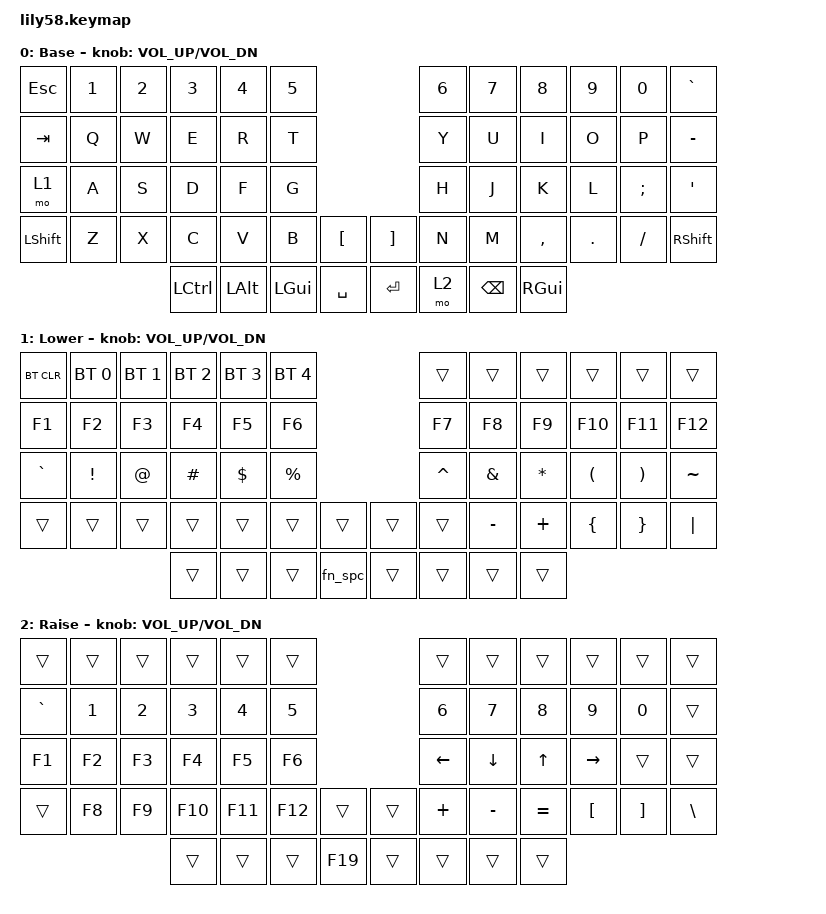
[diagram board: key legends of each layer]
/*
 * Copyright (c) 2020 The ZMK Contributors
 *
 * SPDX-License-Identifier: MIT
 */

#include <behaviors.dtsi>
#include <dt-bindings/zmk/keys.h>
#include <dt-bindings/zmk/bt.h>
#include <dt-bindings/zmk/ext_power.h>

/ {
    macros {
        // globe(fn)+space for whisper_stt's "<fn>+<space>" hotkey. GLOBE is a consumer key, not a
        // modifier, so LG()-style wrapping can't work. held until release, so stt's hold mode works too.
        // verified 2026-11-13 on macOS 26.6: ZMK GLOBE does set kCGEventFlagMaskSecondaryFn, so stt sees fn+space.
        fn_spc: fn_spc {
            compatible = "zmk,behavior-macro";
            #binding-cells = <0>;
            wait-ms = <30>;
            bindings
                = <&macro_press &kp GLOBE>
                , <&macro_press &kp SPACE>
                , <&macro_pause_for_release>
                , <&macro_release &kp SPACE>
                , <&macro_release &kp GLOBE>
                ;
        };
    };

    keymap {
        compatible = "zmk,keymap";

        default_layer {
// ------------------------------------------------------------------------------------------------------------
// |  ESC  |  1  |  2  |  3   |  4   |  5   |                   |  6   |  7    |  8    |  9   |   0   |   `   |
// |  TAB  |  Q  |  W  |  E   |  R   |  T   |                   |  Y   |  U    |  I    |  O   |   P   |   -   |
// |  CTRL |  A  |  S  |  D   |  F   |  G   |                   |  H   |  J    |  K    |  L   |   ;   |   '   |
// | SHIFT |  Z  |  X  |  C   |  V   |  B   |   "["  |  |  "]"  |  N   |  M    |  ,    |  .   |   /   | SHIFT |
//                     | ALT  | GUI  | LOWER|  SPACE |  | ENTER | RAISE| BSPC  | GUI   |
            display-name = "Base";
            bindings = <
&kp ESC   &kp N1 &kp N2 &kp N3   &kp N4   &kp N5                     &kp N6 &kp N7   &kp N8    &kp N9  &kp N0   &kp GRAVE
&kp TAB   &kp Q  &kp W  &kp E    &kp R    &kp T                      &kp Y  &kp U    &kp I     &kp O   &kp P    &kp MINUS
&mo 1 &kp A  &kp S  &kp D    &kp F    &kp G                      &kp H  &kp J    &kp K     &kp L   &kp SEMI &kp SQT
&kp LSHFT &kp Z  &kp X  &kp C    &kp V    &kp B  &kp LBKT   &kp RBKT &kp N  &kp M    &kp COMMA &kp DOT &kp FSLH &kp RSHFT
                        &kp LCTRL &kp LALT &kp LGUI &kp SPACE  &kp RET  &mo 2  &kp BSPC &kp RGUI
            >;

            sensor-bindings = <&inc_dec_kp C_VOL_UP C_VOL_DN>;
        };

        lower_layer {
// ------------------------------------------------------------------------------------------------------------
// | BTCLR | BT1 | BT2 |  BT3 |  BT4 |  BT5 |                   |      |       |       |      |       |       |
// |  F1   |  F2 |  F3 |  F4  |  F5  |  F6  |                   |  F7  |  F8   |  F9   |  F10 |  F11  |  F12  |
// |   `   |  !  |  @  |  #   |  $   |  %   |                   |  ^   |  &    |  *    |  (   |   )   |   ~   |
// |       |     |     |      |      |      |        |  |       |      |  _    |  +    |  {   |   }   |  "|"  |
//                     |      |      |      |        |  |       |      |       |       |
            display-name = "Lower";
            bindings = <
&bt BT_CLR &bt BT_SEL 0     &bt BT_SEL 1      &bt BT_SEL 2      &bt BT_SEL 3 &bt BT_SEL 4                 &trans    &trans    &trans          &trans    &trans    &trans
&kp F1     &kp F2           &kp F3            &kp F4            &kp F5       &kp F6                       &kp F7    &kp F8    &kp F9          &kp F10   &kp F11   &kp F12
&kp GRAVE  &kp EXCL         &kp AT            &kp HASH          &kp DOLLAR   &kp PRCNT                    &kp CARET &kp AMPS  &kp ASTERISK    &kp LPAR  &kp RPAR  &kp TILDE
&trans     &trans           &trans            &trans            &trans       &trans    &trans   &trans    &trans    &kp MINUS &kp PLUS        &kp LBRC  &kp RBRC  &kp PIPE
                                              &trans            &trans       &trans    &fn_spc  &trans    &trans    &trans    &trans
            >;

            sensor-bindings = <&inc_dec_kp C_VOL_UP C_VOL_DN>;
        };

        raise_layer {
// ------------------------------------------------------------------------------------------------------------
// |       |     |     |      |      |      |                   |      |       |       |      |       |       |
// |   `   |  1  |  2  |  3   |  4   |  5   |                   |  6   |   7   |   8   |  9   |   0   |       |
// |   F1  |  F2 |  F3 |  F4  |  F5  |  F6  |                   |   <- |   v   |  ^    |  ->  |       |       |
// |   F7  |  F8 |  F9 |  F10 |  F11 |  F12 |        |  |       |  +   |   -   |   =   |  [   |   ]   |   \   |
//                     |      |      |      |        |  |       |      |       |       |
            display-name = "Raise";
            bindings = <
&trans    &trans &trans &trans  &trans  &trans                       &trans      &trans    &trans    &trans   &trans    &trans
&kp GRAVE &kp N1 &kp N2 &kp N3  &kp N4  &kp N5                       &kp N6      &kp N7    &kp N8    &kp N9   &kp N0    &trans
&kp F1    &kp F2 &kp F3 &kp F4  &kp F5  &kp F6                       &kp LEFT    &kp DOWN  &kp UP    &kp RIGHT &trans   &trans
&trans    &kp F8 &kp F9 &kp F10 &kp F11 &kp F12   &trans   &trans    &kp PLUS    &kp MINUS &kp EQUAL &kp LBKT &kp RBKT  &kp BSLH
                        &trans  &trans  &trans    &kp F19 &trans    &trans      &trans    &trans
            >;

            sensor-bindings = <&inc_dec_kp C_VOL_UP C_VOL_DN>;
        };

        extra_1 {
            status = "reserved";
        };

        extra_2 {
            status = "reserved";
        };

        extra_3 {
            status = "reserved";
        };
    };
};
